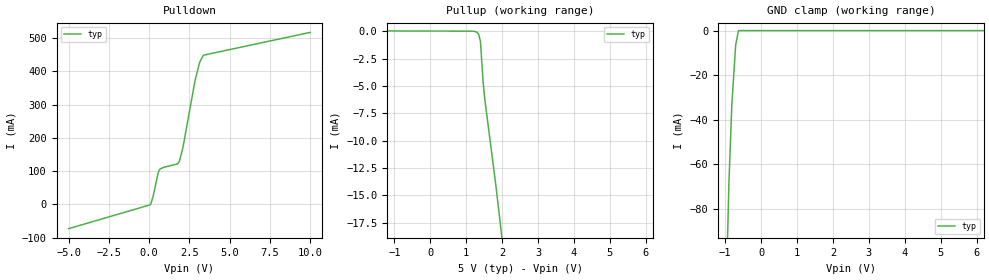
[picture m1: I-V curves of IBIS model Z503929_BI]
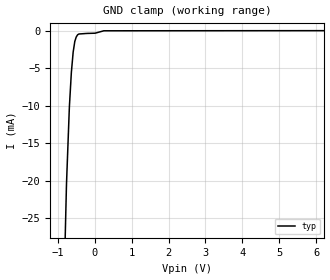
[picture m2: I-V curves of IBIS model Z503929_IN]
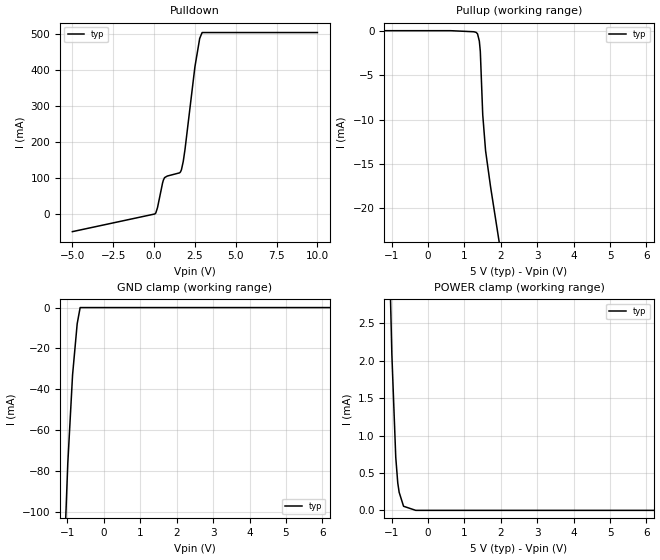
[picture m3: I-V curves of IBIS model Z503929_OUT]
| YOU ARE ONLY AUTHORIZED TO USE THIS SOFTWARE
| ACCORDING TO LICENSOR'S LICENSE RESTRICTIONS.
[IBIS Ver] 3.1
[File Name] mc54f299j.ibs
[File Rev] 2.0
[Source] Measured and created by ICX Technology
[Date] Friday 7/14/00 9:08:03 AM
[Copyright]
| (C) COPYRIGHT 1993-2000
| MENTOR GRAPHICS CORPORATION
| ICX STANDARD LIBRARY, ICX PROJECT MODELING,
| ICX CUSTOM MODELING, ICX VENDOR MODEL
| ALL RIGHTS RESERVED.
| THE FOLLOWING ARE TRADEMARKS OR SERVICE MARKS OF
| MENTOR GRAPHICS CORPORATION:ICX (R), ICX STANDARD
| LIBRARY(R), ICX PROJECT MODELING(R), ICX CUSTOM
| MODELING(R), qualityIBIS(TM), MODELVIEWER(TM),
| AND MODELEDITOR(TM)
| ALL COPIES OF SOFTWARE, INCLUDING BUT NOT LIMITED TO
| ANY MODIFICATIONS, ENHANCEMENTS OR DERIVATIVE WORKS,
| MUST CONTAIN ALL MENTOR GRAPHICS CORPORATION'S
| NOTICES AND LEGENDS, INCLUDING THOSE EMBEDDED IN
| SOFTWARE AND THOSE AFFIXED TO SOFTWARE MEDIUM
| AND CONTAINER, AS RECEIVED FROM MENTOR GRAPHICS
| CORPORATION.
|  ZAP Model Builder 2.7
[Component] MC54F299J
[Manufacturer] OnSemiconductor
[Package]
| variable   typ   min   max
R_pkg  .216ohms NA NA
L_pkg  5.76nH NA NA
C_pkg  2.193pF NA NA
[Pin] signal_name  model_name  R_pin  L_pin C_pin
1 S0 Z503929_IN .232 9.76n 3.179p
2 _G1 Z503929_IN .224 7.26n 2.686p
3 _G2 Z503929_IN .216 5.26n 2.193p
4 G_QG Z503929_BI .208 3.76n 1.7p
5 E_QE Z503929_BI .2 2.76n 1.207p
6 C_QC Z503929_BI .2 2.76n 1.207p
7 A_QA Z503929_BI .208 3.76n 1.7p
8 QAP Z503929_OUT .216 5.26n 2.193p
9 _CLR Z503929_IN .224 7.26n 2.686p
10 GND GND .232 9.76n 3.179p
11 SR Z503929_IN .232 9.76n 3.179p
12 CLK Z503929_IN .224 7.26n 2.686p
13 B_QB Z503929_BI .216 5.26n 2.193p
14 D_QD Z503929_BI .208 3.76n 1.7p
15 F_QF Z503929_BI .2 2.76n 1.207p
16 H_QH Z503929_BI .2 2.76n 1.207p
17 QH Z503929_OUT .208 3.76n 1.7p
18 SL Z503929_IN .216 5.26n 2.193p
19 S1 Z503929_IN .224 7.26n 2.686p
20 VCC POWER .232 9.76n 3.179p
| Models and submodels in the file (3): Z503929_BI (I/O), Z503929_IN (Input), Z503929_OUT (Output)
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| (C) COPYRIGHT 1993-2000
| MENTOR GRAPHICS CORPORATION
| ICX STANDARD LIBRARY, ICX PROJECT MODELING,
| ICX CUSTOM MODELING, ICX VENDOR MODEL
| ALL RIGHTS RESERVED.
| THE FOLLOWING ARE TRADEMARKS OR SERVICE MARKS OF
| MENTOR GRAPHICS CORPORATION:ICX (R), ICX STANDARD
| LIBRARY(R), ICX PROJECT MODELING(R), ICX CUSTOM
| MODELING(R), qualityIBIS(TM), MODELVIEWER(TM),
| AND MODELEDITOR(TM)
| ALL COPIES OF SOFTWARE, INCLUDING BUT NOT LIMITED TO
| ANY MODIFICATIONS, ENHANCEMENTS OR DERIVATIVE WORKS,
| MUST CONTAIN ALL MENTOR GRAPHICS CORPORATION'S
| NOTICES AND LEGENDS, INCLUDING THOSE EMBEDDED IN
| SOFTWARE AND THOSE AFFIXED TO SOFTWARE MEDIUM
| AND CONTAINER, AS RECEIVED FROM MENTOR GRAPHICS
| CORPORATION.
| Model Application Version 1.89 2/18/99.
[Model] Z503929_BI
Model_type I/O
Vinl=800.0mV
Vinh=2.000V
Vref=0.000V
Rref=500.0ohms
Cref=50.00pF
Vmeas=1.500V
C_comp 8.000pF NA NA
| variable typ   min   max
[Voltage Range] 5.000V NA NA
[POWER Clamp Reference] 5.000V NA NA
[Pullup Reference] 5.000V NA NA
[Pulldown Reference] 0.000V NA NA
[GND Clamp Reference] 0.000V NA NA
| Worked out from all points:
|   slope of the pulldown table from 0 to 0.75 V, typ, clamps not added: 6.8 ohm
|   GND clamp passes 1 mA (typ) near -0.64 V on its own axis
[GND Clamp]
-5V       -3.335A    NA         NA
-1.025V   -152.2mA   NA         NA
-897.9mV  -69.06mA   NA         NA
-815.4mV  -33.37mA   NA         NA
-708.7mV  -6.452mA   NA         NA
-630mV    0A         NA         NA
10V       0A         NA         NA
[Pulldown]
-5V       -72.66mA   NA         NA
106.9mV   1.993mA    NA         NA
243.7mV   23.99mA    NA         NA
546.9mV   92.2mA     NA         NA
673.2mV   106.6mA    NA         NA
1.734V    121.6mA    NA         NA
1.885V    131mA      NA         NA
2.099V    171.4mA    NA         NA
2.854V    373.2mA    NA         NA
3.135V    427.2mA    NA         NA
3.351V    447.7mA    NA         NA
10V       517.5mA    NA         NA
[Pullup]
-5V       54.92uA    NA         NA
1.202V    -1.469uA   NA         NA
1.279V    -66.99uA   NA         NA
1.342V    -254.2uA   NA         NA
1.395V    -946.9uA   NA         NA
1.471V    -4.738mA   NA         NA
1.519V    -6.306mA   NA         NA
1.821V    -14mA      NA         NA
10V       -245mA     NA         NA
[POWER Clamp]
-5V       0A         NA         NA
10V       0A         NA         NA
[Ramp]
| variable typ min max
dV/dt_r 2.031/3.461n NA NA
dV/dt_f 2.031/1.662n NA NA
R_load = 500.0Ohms
| (C) COPYRIGHT 1993-2000
| MENTOR GRAPHICS CORPORATION
| ICX STANDARD LIBRARY, ICX PROJECT MODELING,
| ICX CUSTOM MODELING, ICX VENDOR MODEL
| ALL RIGHTS RESERVED.
| THE FOLLOWING ARE TRADEMARKS OR SERVICE MARKS OF
| MENTOR GRAPHICS CORPORATION:ICX (R), ICX STANDARD
| LIBRARY(R), ICX PROJECT MODELING(R), ICX CUSTOM
| MODELING(R), qualityIBIS(TM), MODELVIEWER(TM),
| AND MODELEDITOR(TM)
| ALL COPIES OF SOFTWARE, INCLUDING BUT NOT LIMITED TO
| ANY MODIFICATIONS, ENHANCEMENTS OR DERIVATIVE WORKS,
| MUST CONTAIN ALL MENTOR GRAPHICS CORPORATION'S
| NOTICES AND LEGENDS, INCLUDING THOSE EMBEDDED IN
| SOFTWARE AND THOSE AFFIXED TO SOFTWARE MEDIUM
| AND CONTAINER, AS RECEIVED FROM MENTOR GRAPHICS
| CORPORATION.
| Model Application Version 1.89 2/18/99.
[Model] Z503929_IN
Model_type Input
Vinl = 800.0mV
Vinh = 2.000V
C_comp 4.000pF NA NA
| variable typ   min   max
[Voltage Range] 5.000V NA NA
[GND Clamp Reference] 0.000V NA NA
[POWER Clamp Reference] 5.000V NA NA
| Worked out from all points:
|   GND clamp passes 1 mA (typ) near -0.51 V on its own axis
[GND Clamp]
-5V       -887.6mA   NA         NA
-761.6mV  -20.52mA   NA         NA
-683.7mV  -10.23mA   NA         NA
-629.8mV  -5.584mA   NA         NA
-580.6mV  -2.849mA   NA         NA
-536.6mV  -1.43mA    NA         NA
-498mV    -833.2uA   NA         NA
-460.2mV  -536.9uA   NA         NA
-424.4mV  -432.1uA   NA         NA
13.16mV   -324.8uA   NA         NA
249mV     -3.232uA   NA         NA
10V       25.7uA     NA         NA
[POWER Clamp]
-5V       0A         NA         NA
10V       0A         NA         NA
| (C) COPYRIGHT 1993-2000
| MENTOR GRAPHICS CORPORATION
| ICX STANDARD LIBRARY, ICX PROJECT MODELING,
| ICX CUSTOM MODELING, ICX VENDOR MODEL
| ALL RIGHTS RESERVED.
| THE FOLLOWING ARE TRADEMARKS OR SERVICE MARKS OF
| MENTOR GRAPHICS CORPORATION:ICX (R), ICX STANDARD
| LIBRARY(R), ICX PROJECT MODELING(R), ICX CUSTOM
| MODELING(R), qualityIBIS(TM), MODELVIEWER(TM),
| AND MODELEDITOR(TM)
| ALL COPIES OF SOFTWARE, INCLUDING BUT NOT LIMITED TO
| ANY MODIFICATIONS, ENHANCEMENTS OR DERIVATIVE WORKS,
| MUST CONTAIN ALL MENTOR GRAPHICS CORPORATION'S
| NOTICES AND LEGENDS, INCLUDING THOSE EMBEDDED IN
| SOFTWARE AND THOSE AFFIXED TO SOFTWARE MEDIUM
| AND CONTAINER, AS RECEIVED FROM MENTOR GRAPHICS
| CORPORATION.
| Model Application Version 1.89 2/18/99.
[Model] Z503929_OUT
Model_type Output
Vref=0.000V
Rref=500.0ohms
Cref=50.00pF
Vmeas=1.500V
C_comp 8.000pF NA NA
| variable typ   min   max
[Voltage Range] 5.000V NA NA
[POWER Clamp Reference] 5.000V NA NA
[Pullup Reference] 5.000V NA NA
[Pulldown Reference] 0.000V NA NA
[GND Clamp Reference] 0.000V NA NA
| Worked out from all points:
|   slope of the pulldown table from 0 to 0.75 V, typ, clamps not added: 7.19 ohm
|   slope of the pullup table from 0 to 0.75 V, typ, clamps not added: 31.7 kohm
|   GND clamp passes 1 mA (typ) near -0.66 V on its own axis
|   POWER clamp passes 1 mA (typ) near -0.91 V on its own axis
[GND Clamp]
-5V       -2.408A    NA         NA
-1.122V   -138.7mA   NA         NA
-990.4mV  -76.43mA   NA         NA
-859.4mV  -33.06mA   NA         NA
-732.4mV  -7.939mA   NA         NA
-651mV    0A         NA         NA
10V       0A         NA         NA
[Pulldown]
-5V       -50.17mA   NA         NA
106.9mV   1.94mA     NA         NA
211.7mV   16.8mA     NA         NA
517.6mV   84.49mA    NA         NA
641.5mV   99.97mA    NA         NA
1.563V    113.3mA    NA         NA
1.675V    121.8mA    NA         NA
1.892V    177.7mA    NA         NA
2.5V      407.8mA    NA         NA
2.793V    486.8mA    NA         NA
2.939V    503.1mA    NA         NA
10V       503.3mA    NA         NA
[Pullup]
-5V       14.7uA     NA         NA
625mV     14.7uA     NA         NA
1.26V     -105.5uA   NA         NA
1.323V    -173.4uA   NA         NA
1.361V    -336uA     NA         NA
1.411V    -1.157mA   NA         NA
1.438V    -2.326mA   NA         NA
1.504V    -9.432mA   NA         NA
1.582V    -13.5mA    NA         NA
1.719V    -17.57mA   NA         NA
10V       -235.4mA   NA         NA
[POWER Clamp]
-5V       82.68mA    NA         NA
-991mV    2.086mA    NA         NA
-884mV    710.1uA    NA         NA
-829mV    367.8uA    NA         NA
-791mV    242.4uA    NA         NA
-670mV    54.8uA     NA         NA
-335mV    0A         NA         NA
10V       0A         NA         NA
[Ramp]
| variable typ min max
dV/dt_r 2.068/2.401n NA NA
dV/dt_f 2.068/1.426n NA NA
R_load = 500.0Ohms
